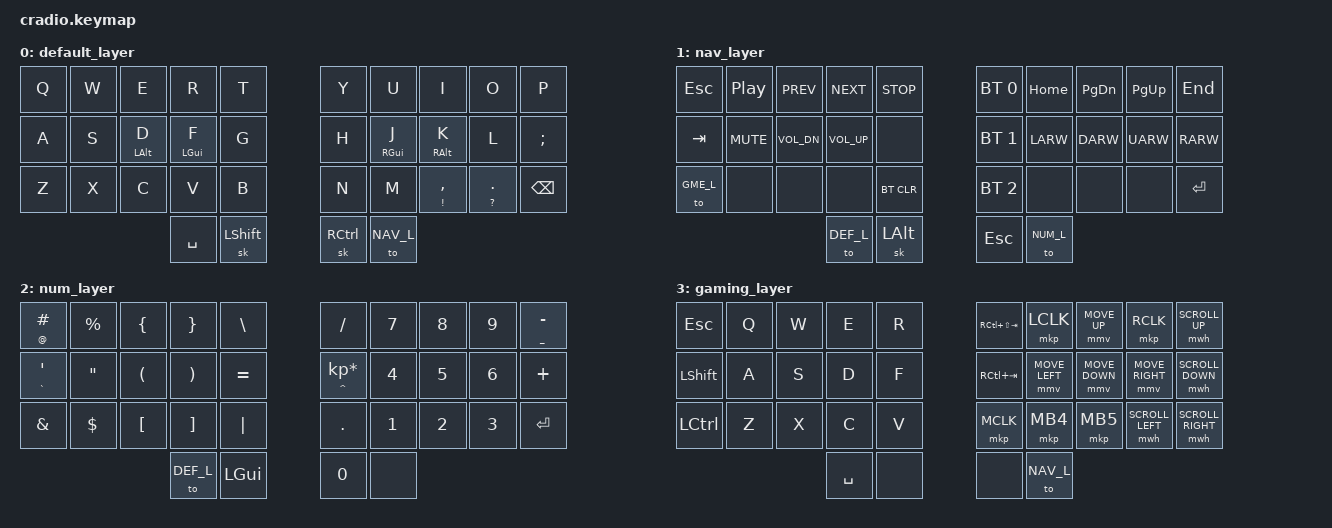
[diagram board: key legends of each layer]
/*
 * Copyright (c) 2020 The ZMK Contributors
 *
 * SPDX-License-Identifier: MIT
 */

#include <behaviors.dtsi>
#include <dt-bindings/zmk/keys.h>
#include <dt-bindings/zmk/bt.h>
#include <dt-bindings/zmk/mouse.h>

#define DEF_L 0
#define NAV_L 1
#define NUM_L 2
#define GME_L 3

// Using layer taps on thumbs, having quick tap as well helps w/ repeating space/backspace
&lt { quick_tap_ms = <200>; };

/ {
    behaviors {
        hm: homerow_mods {
            compatible = "zmk,behavior-hold-tap";
            label = "homerow mods";
            #binding-cells = <2>;
            tapping_term_ms = <200>;
			quick_tap_ms = <200>;
            flavor = "tap-preferred";
            bindings = <&kp>, <&kp>;
        };
		td: tapdance {
			compatible = "zmk,behavior-hold-tap";
			label = "tap dance";
			#binding-cells = <2>;
			tapping-term-ms = <200>;
			quick_tap_ms = <200>;
			flavor = "tap-preferred";
			bindings = <&kp>, <&kp>;
		};
    };

    keymap {
        compatible = "zmk,keymap";

        default_layer {
            bindings = <
                &kp Q          &kp W      &kp E        &kp R          &kp T        &kp Y                  &kp U          &kp I           &kp O         &kp P
                &kp A          &kp S      &hm LALT D   &hm LGUI  F    &kp G        &kp H                  &hm RGUI J     &hm RALT K      &kp L         &kp SEMI
                &kp Z          &kp X      &kp C        &kp V          &kp B        &kp N                  &kp M          &td EXCL COMMA  &td QMARK DOT &kp BKSP
                                                       &kp SPACE      &sk LSHIFT   &sk RCTRL              &to NAV_L
            >;
        };

        nav_layer {
            bindings = <      
                &kp ESC        &kp C_PP   &kp C_PREV   &kp C_NEXT     &kp C_STOP   &bt BT_SEL 0           &kp HOME       &kp PG_DN       &kp PG_UP     &kp END
                &kp TAB        &kp C_MUTE &kp C_VOL_DN &kp C_VOL_UP   &none        &bt BT_SEL 1           &kp LARW       &kp DARW        &kp UARW      &kp RARW
                &to GME_L      &none      &none        &none          &bt BT_CLR   &bt BT_SEL 2           &none          &none           &none         &kp ENTER
                                                       &to DEF_L      &sk LALT     &kp ESC                &to NUM_L
            >;
        };

        num_layer {
            bindings = <      
                &td AT HASH    &kp PRCNT  &kp LBRC     &kp RBRC       &kp BSLH     &kp FSLH               &kp N7         &kp N8          &kp N9        &td UNDER MINUS
                &td GRAVE APOS &kp DQT    &kp LPAR     &kp RPAR       &kp EQUAL    &td CARET KP_MULTIPLY  &kp N4         &kp N5          &kp N6        &kp PLUS
                &kp AMPS       &kp DLLR   &kp LBKT     &kp RBKT       &kp PIPE     &kp DOT                &kp N1         &kp N2          &kp N3        &kp ENTER
                                                       &to DEF_L      &kp LGUI     &kp N0                 &none 
            >;
        };

		gaming_layer {
            bindings = <
                &kp ESC        &kp Q      &kp W        &kp E          &kp R        &kp RC(LS(TAB))        &mkp LCLK      &mmv MOVE_UP    &mkp RCLK        &mwh SCROLL_UP
                &kp LSHIFT     &kp A      &kp S        &kp D          &kp F        &kp RC(TAB)            &mmv MOVE_LEFT &mmv MOVE_DOWN  &mmv MOVE_RIGHT  &mwh SCROLL_DOWN
                &kp LCTRL      &kp Z      &kp X        &kp C          &kp V        &mkp MCLK              &mkp MB4       &mkp MB5        &mwh SCROLL_LEFT &mwh SCROLL_RIGHT
                                                       &kp SPACE      &none        &none                  &to NAV_L 
            >;
        };
    };
};
                compatible = "zmk,keymap";
                
       		default_layer {
		bindings = <
		&kp Y &kp C &kp L &kp M &kp K 						&kp Z &kp F  &kp U    &td MINUS COMMA  &kp BKSP 
		&kp I &kp S &hm LALT R &hm LGUI T &kp G 			       	&kp P &hm RGUI N &hm RALT E &kp A &kp O
		&kp Q &kp V &kp W &kp D &kp J				        &kp B &kp H  &td UNDERSCORE SLASH &td EXCL DOT &kp X
          				&mt LC(LS(LALT)) SPC &sk LSHIFT  				&sk RCTRL &to 1
		>;
		};

       		left_layer {
		bindings = <
		&kp ESC  &kp ATSN   &td LC(LG(LS(N4))) LS(N3) &kp DLLR    &kp PRCNT		&kp CARET &kp LS(COMMA) &kp LS(DOT) &kp SEMI &kp BKSP 
		&kp TAB    &kp EQUAL    &kp LA(RBKT)      &kp LA(LS(RBKT))     &kp SQT 		&kp BSLH &kp LBRC  &kp RBRC &kp PIPE  &kp ENTER
		&kp TILDE    &kp LA(N3) 	&kp LA(LBKT) &kp LA(LS(LBKT))  &kp DQT 	&kp LBKT &kp LPRN &kp RPRN &kp RBKT  &to 3 
					    &to 0  &sk LSHIFT  					&sk RALT &to 2 
		>;
		};
		
		right_layer {
		bindings = <
		&kp ESC  &kp C_PP &kp C_PREV  &kp C_NEXT  &kp LS(MINUS)    			&kp MINUS  &kp N7 &kp N8 &kp N9 &trans
		&kp TAB  &trans   &kp C_VOL_DN  &kp C_VOL_UP  &kp LS(EQUAL) 			&kp EQUAL &kp N4  &kp N5  &kp N6   &kp ENTER
		&to 4  &kp AMPS &kp SLASH &kp STAR &kp DOT    			&kp N0 &kp N1 &kp N2 &kp N3  &trans 
					  &to 0 &sk LGUI  				&sk RALT  &to 2 
		>;
		};
		
		tri_layer {
		bindings = <
		&trans  &mwh SCROLL_LEFT    &mmv MOVE_UP    &mwh SCROLL_RIGHT    &kp NUM_5 			&kp LG(LBKT)   &kp LC(LS(TAB))   &kp RC(TAB) &kp LG(RBKT) &trans
		&kp F1 &mmv MOVE_LEFT &mmv MOVE_DOWN &mmv MOVE_RIGHT &kp DEL  						&kp LEFT &kp DOWN  &kp UP &kp RIGHT &kp ENTER 
		&td LG(GRAVE) GRAVE &mkp RCLK  &mwh SCROLL_UP &mwh SCROLL_DOWN &trans   				&mkp LCLK &kp PG_DN  &kp K_VOL_DN  &trans &trans   
					 &to 0 &trans  					&sk RALT &to 1 
		>;
		};	
		bt {
		bindings = <
		&trans  &trans &trans &trans &trans &trans &trans &trans &trans &trans 
		&trans  &trans &trans &trans &trans &trans &trans &trans &trans &trans 
		&bt BT_PRV  &bt BT_NXT &bt BT_CLR &trans &trans   				&trans &trans  &trans  &trans &trans   
					 &to 0 &trans  					&trans &to 1 
		>;
		};	
        
	};
};
